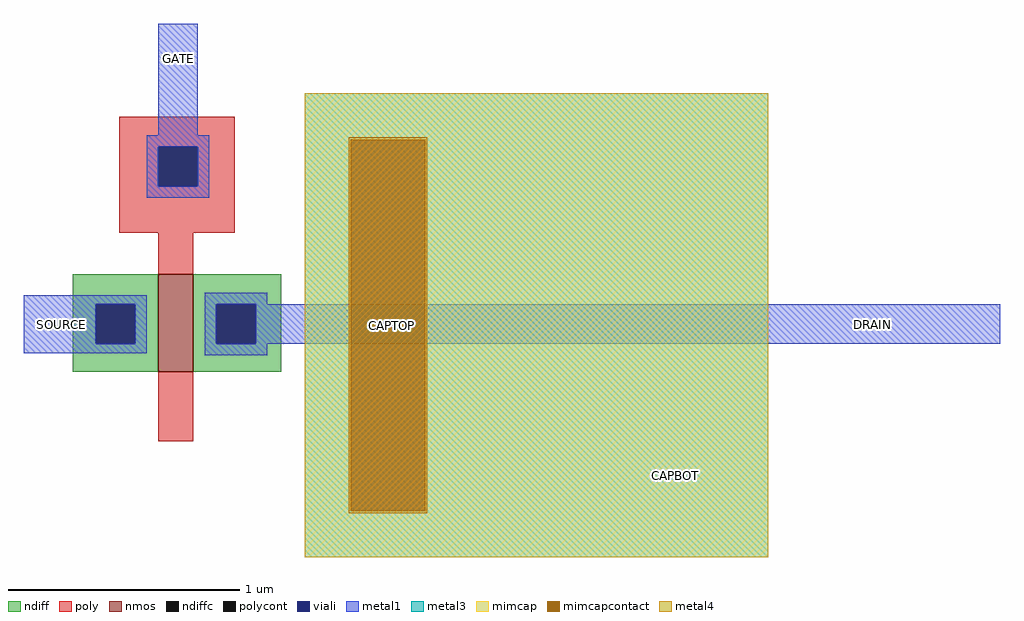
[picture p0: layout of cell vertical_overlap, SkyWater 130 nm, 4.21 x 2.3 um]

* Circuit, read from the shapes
.subckt vertical_overlap CAPBOT CAPTOP DRAIN GATE SOURCE
XM1 DRAIN GATE SOURCE VSUBS sky130_fd_pr__nfet_01v8 w=0.42 l=0.15
XC2 CAPTOP CAPBOT sky130_fd_pr__cap_mim_m3_1 w=2 l=2
.ends

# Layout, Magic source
magic
tech sky130A
<< nmos >>
rect 537 80 552 122
<< ndiff >>
rect 500 109 537 122
rect 500 92 510 109
rect 527 92 537 109
rect 500 80 537 92
rect 552 109 590 122
rect 552 92 562 109
rect 579 92 590 109
rect 552 80 590 92
<< ndiffc >>
rect 510 92 527 109
rect 562 92 579 109
<< poly >>
rect 520 177 570 190
rect 520 160 537 177
rect 554 160 570 177
rect 520 140 570 160
rect 537 122 552 140
rect 537 50 552 80
<< polycont >>
rect 537 160 554 177
<< viali >>
rect 537 160 554 177
rect 510 92 527 109
rect 562 92 579 109
<< metal1 >>
rect 537 182 554 230
rect 532 177 559 182
rect 532 160 537 177
rect 554 160 559 177
rect 532 155 559 160
rect 479 109 532 113
rect 479 92 510 109
rect 527 92 532 109
rect 479 88 532 92
rect 557 109 584 114
rect 557 92 562 109
rect 579 92 900 109
rect 557 87 584 92
<< metal3 >>
rect 600 0 800 200
<< mimcap >>
rect 600 180 800 200
rect 600 20 620 180
rect 652 20 800 180
rect 600 0 800 20
<< mimcapcontact >>
rect 620 20 652 180
<< metal4 >>
rect 619 19 653 181
<< labels >>
rlabel metal1 820 92 870 109 0 DRAIN
rlabel metal1 537 205 554 225 0 GATE
rlabel metal1 480 92 510 109 0 SOURCE
rlabel metal3 730 20 790 50 0 CAPBOT
rlabel metal4 625 50 650 150 0 CAPTOP
<< end >>
